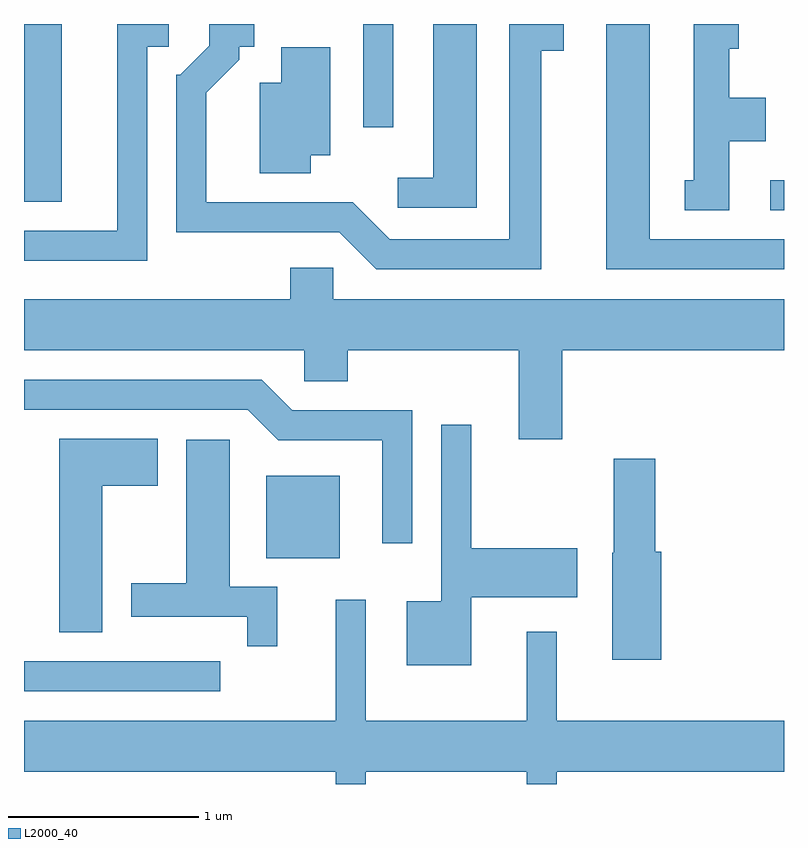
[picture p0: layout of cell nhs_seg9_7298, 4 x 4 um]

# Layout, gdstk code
import gdstk
lib = gdstk.Library(unit=1e-6, precision=1e-09)
def R(c, l, rs):  # rectangles x0, y0, x1, y1
    for r in rs: c.add(gdstk.rectangle(r[:2], r[2:], *l))
def P(c, l, *ps):  # polygons
    for p in ps: c.add(gdstk.Polygon(p, *l))
L2000_40 = (2000, 40)

nhs_seg9_7298 = lib.new_cell('nhs_seg9_7298')
R(nhs_seg9_7298, L2000_40, [(401.611,1978.921,402.643,1979.079), (402.886,1979.621,403.274,1980.054), (405.538,1981.451,405.611,1981.609), (401.611,1981.496,401.809,1982.432), (403.396,1981.888,403.554,1982.432)])
P(nhs_seg9_7298, L2000_40, [(402.259,1982.311),(402.373,1982.311),(402.373,1982.432),(402.101,1982.432),(402.101,1981.344),(401.611,1981.344),(401.611,1981.186),(402.259,1981.186)],
  [(403.994,1982.432),(403.766,1982.432),(403.766,1981.624),(403.578,1981.624),(403.578,1981.466),(403.994,1981.466)],
  [(405.611,1981.299),(404.904,1981.299),(404.904,1982.432),(404.676,1982.432),(404.676,1981.141),(405.611,1981.141)],
  [(405.324,1981.816),(405.514,1981.816),(405.514,1982.044),(405.324,1982.044),(405.324,1982.301),(405.373,1982.301),(405.373,1982.432),(405.136,1982.432),(405.136,1981.609),(405.088,1981.609),(405.088,1981.451),(405.324,1981.451)],
  [(404.334,1982.291),(404.453,1982.291),(404.453,1982.432),(404.166,1982.432),(404.166,1981.299),(403.537,1981.299),(403.342,1981.494),(402.569,1981.494),(402.569,1982.069),(402.744,1982.244),(402.744,1982.311),(402.823,1982.311),(402.823,1982.432),(402.586,1982.432),(402.586,1982.317),(402.434,1982.164),(402.411,1982.164),(402.411,1981.336),(403.269,1981.336),(403.464,1981.141),(404.334,1981.141)],
  [(403.119,1981.741),(403.224,1981.741),(403.224,1982.309),(402.966,1982.309),(402.966,1982.124),(402.851,1982.124),(402.851,1981.646),(403.119,1981.646)],
  [(403.086,1980.551),(403.314,1980.551),(403.314,1980.716),(404.216,1980.716),(404.216,1980.246),(404.444,1980.246),(404.444,1980.716),(405.611,1980.716),(405.611,1980.984),(403.239,1980.984),(403.239,1981.149),(403.011,1981.149),(403.011,1980.984),(401.611,1980.984),(401.611,1980.716),(403.086,1980.716)],
  [(403.654,1980.399),(403.022,1980.399),(402.862,1980.559),(401.611,1980.559),(401.611,1980.401),(402.789,1980.401),(402.949,1980.241),(403.496,1980.241),(403.496,1979.698),(403.654,1979.698)],
  [(403.964,1979.416),(404.524,1979.416),(404.524,1979.674),(403.964,1979.674),(403.964,1980.323),(403.806,1980.323),(403.806,1979.394),(403.626,1979.394),(403.626,1979.056),(403.964,1979.056)],
  [(402.024,1980.001),(402.314,1980.001),(402.314,1980.249),(401.796,1980.249),(401.796,1979.231),(402.024,1979.231)],
  [(402.944,1979.469),(402.694,1979.469),(402.694,1980.244),(402.466,1980.244),(402.466,1979.489),(402.176,1979.489),(402.176,1979.311),(402.786,1979.311),(402.786,1979.158),(402.944,1979.158)],
  [(404.964,1979.654),(404.934,1979.654),(404.934,1980.144),(404.716,1980.144),(404.716,1979.65),(404.706,1979.65),(404.706,1979.086),(404.964,1979.086)],
  [(403.409,1978.496),(404.256,1978.496),(404.256,1978.432),(404.414,1978.432),(404.414,1978.496),(405.611,1978.496),(405.611,1978.764),(404.414,1978.764),(404.414,1979.233),(404.256,1979.233),(404.256,1978.764),(403.409,1978.764),(403.409,1979.403),(403.251,1979.403),(403.251,1978.764),(401.611,1978.764),(401.611,1978.496),(403.251,1978.496),(403.251,1978.432),(403.409,1978.432)])

lib.write_gds('nhs_seg9_7298.gds')
